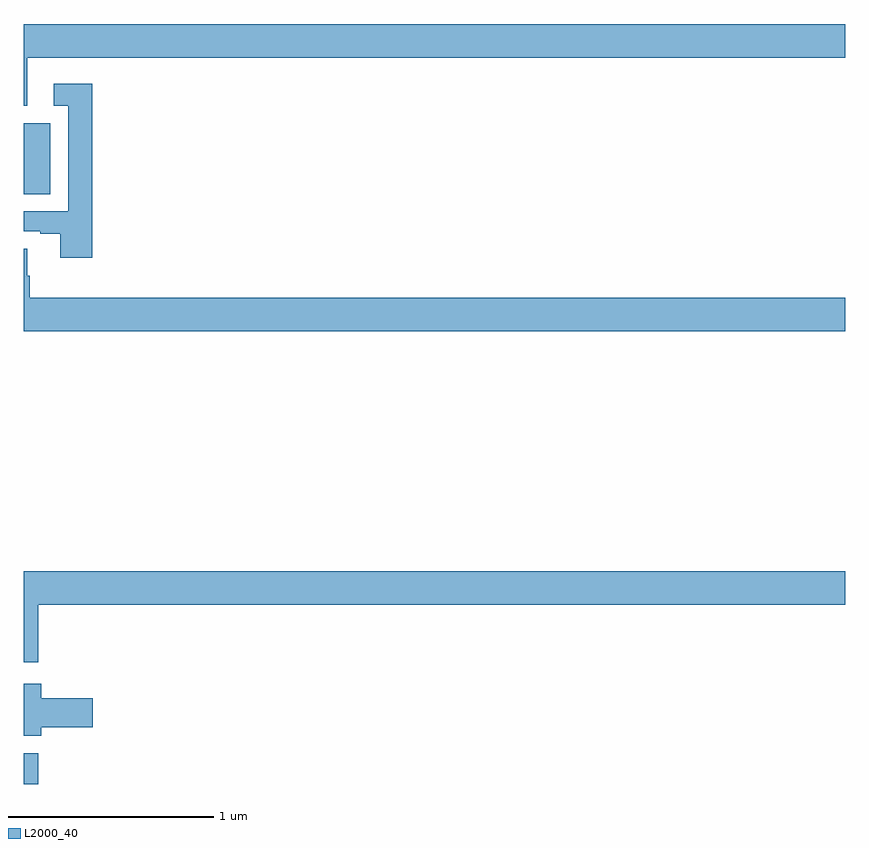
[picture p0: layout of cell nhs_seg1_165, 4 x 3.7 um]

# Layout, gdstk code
import gdstk
lib = gdstk.Library(unit=1e-6, precision=1e-09)
def R(c, l, rs):  # rectangles x0, y0, x1, y1
    for r in rs: c.add(gdstk.rectangle(r[:2], r[2:], *l))
def P(c, l, *ps):  # polygons
    for p in ps: c.add(gdstk.Polygon(p, *l))
L2000_40 = (2000, 40)

nhs_seg1_165 = lib.new_cell('nhs_seg1_165')
R(nhs_seg1_165, L2000_40, [(119,544.199,119.071,544.348), (119,547.072,119.128,547.416)])
P(nhs_seg1_165, L2000_40, [(119.017,547.736),(123,547.736),(123,547.9),(119,547.9),(119,547.501),(119.017,547.501)],
  [(119.333,547.609),(119.145,547.609),(119.145,547.503),(119.217,547.503),(119.217,546.987),(119,546.987),(119,546.891),(119.081,546.891),(119.081,546.879),(119.177,546.879),(119.177,546.762),(119.333,546.762)],
  [(123,546.568),(119.03,546.568),(119.03,546.674),(119.017,546.674),(119.017,546.806),(119,546.806),(119,546.404),(123,546.404)],
  [(119.071,545.072),(123,545.072),(123,545.236),(119,545.236),(119,544.791),(119.071,544.791)],
  [(119.086,544.475),(119.335,544.475),(119.335,544.617),(119.086,544.617),(119.086,544.687),(119,544.687),(119,544.433),(119.086,544.433)])

lib.write_gds('nhs_seg1_165.gds')
